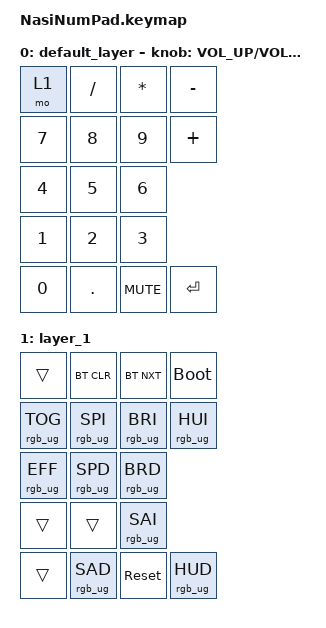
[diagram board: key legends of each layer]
/*
 * Copyright (c) 2020 The ZMK Contributors
 *
 * SPDX-License-Identifier: MIT
 */

#include <behaviors.dtsi>
#include <dt-bindings/zmk/bt.h>
#include <dt-bindings/zmk/keys.h>
#include <dt-bindings/zmk/rgb.h>

/ {
    keymap {
        compatible = "zmk,keymap";

        default_layer {
            bindings = <
&mo 1   &kp FSLH  &kp STAR    &kp MINUS
&kp N7  &kp N8    &kp N9      &kp PLUS
&kp N4  &kp N5    &kp N6
&kp N1  &kp N2    &kp N3
&kp N0  &kp DOT   &kp C_MUTE  &kp RET
            >;

            sensor-bindings = <&inc_dec_kp C_VOL_UP C_VOL_DN>;
        };

        layer_1 {
            bindings = <
&trans           &bt BT_CLR       &bt BT_NXT       &bootloader
&rgb_ug RGB_TOG  &rgb_ug RGB_SPI  &rgb_ug RGB_BRI  &rgb_ug RGB_HUI
&rgb_ug RGB_EFF  &rgb_ug RGB_SPD  &rgb_ug RGB_BRD
&trans           &trans           &rgb_ug RGB_SAI
&trans           &rgb_ug RGB_SAD  &sys_reset       &rgb_ug RGB_HUD
            >;
        };
    };
};
